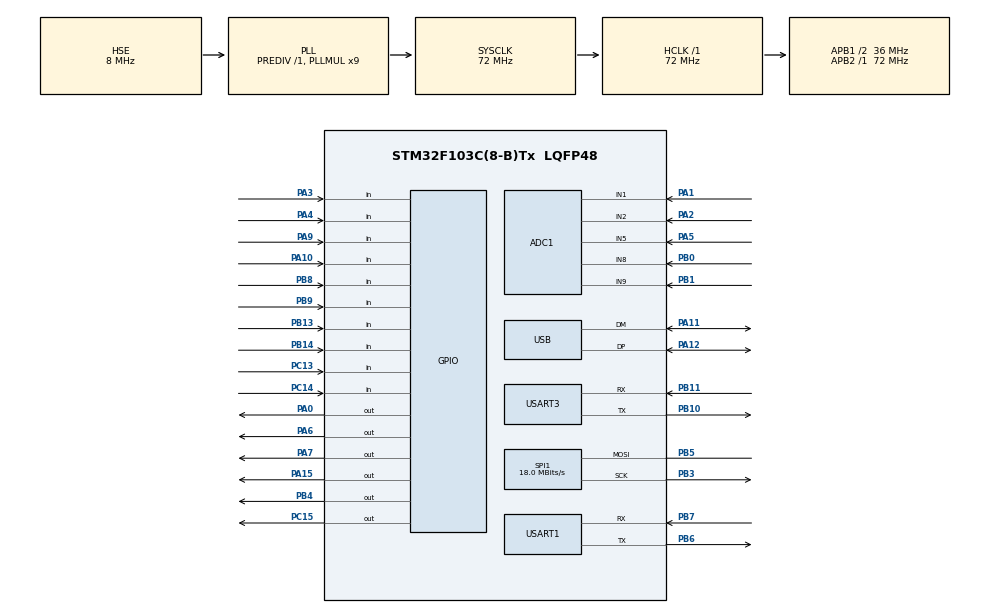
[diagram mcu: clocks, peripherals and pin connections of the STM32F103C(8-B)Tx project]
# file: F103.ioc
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ADC1.Channel-0\#ChannelRegularConversion=ADC_CHANNEL_9
ADC1.Channel-5\#ChannelRegularConversion=ADC_CHANNEL_8
ADC1.Channel-6\#ChannelRegularConversion=ADC_CHANNEL_1
ADC1.Channel-7\#ChannelRegularConversion=ADC_CHANNEL_2
ADC1.Channel-8\#ChannelRegularConversion=ADC_CHANNEL_5
ADC1.ContinuousConvMode=ENABLE
ADC1.NbrOfConversion=5
ADC1.NbrOfConversionFlag=1
ADC1.Rank-0\#ChannelRegularConversion=1
ADC1.Rank-5\#ChannelRegularConversion=2
ADC1.Rank-6\#ChannelRegularConversion=3
ADC1.Rank-7\#ChannelRegularConversion=4
ADC1.Rank-8\#ChannelRegularConversion=5
ADC1.SamplingTime-0\#ChannelRegularConversion=ADC_SAMPLETIME_239CYCLES_5
ADC1.SamplingTime-5\#ChannelRegularConversion=ADC_SAMPLETIME_239CYCLES_5
ADC1.SamplingTime-6\#ChannelRegularConversion=ADC_SAMPLETIME_239CYCLES_5
ADC1.SamplingTime-7\#ChannelRegularConversion=ADC_SAMPLETIME_239CYCLES_5
ADC1.SamplingTime-8\#ChannelRegularConversion=ADC_SAMPLETIME_239CYCLES_5
ADC1.master=1
Dma.ADC1.0.Direction=DMA_PERIPH_TO_MEMORY
Dma.ADC1.0.Instance=DMA1_Channel1
Dma.ADC1.0.MemDataAlignment=DMA_MDATAALIGN_HALFWORD
Dma.ADC1.0.MemInc=DMA_MINC_ENABLE
Dma.ADC1.0.Mode=DMA_CIRCULAR
Dma.ADC1.0.PeriphDataAlignment=DMA_PDATAALIGN_HALFWORD
Dma.ADC1.0.PeriphInc=DMA_PINC_DISABLE
Dma.ADC1.0.Priority=DMA_PRIORITY_LOW
Dma.Request0=ADC1
Dma.Request1=SPI1_TX
Dma.Request2=USART1_RX
Dma.Request3=USART1_TX
Dma.SPI1_TX.1.Direction=DMA_MEMORY_TO_PERIPH
Dma.SPI1_TX.1.Instance=DMA1_Channel3
Dma.SPI1_TX.1.MemDataAlignment=DMA_MDATAALIGN_BYTE
Dma.SPI1_TX.1.MemInc=DMA_MINC_ENABLE
Dma.SPI1_TX.1.Mode=DMA_NORMAL
Dma.SPI1_TX.1.PeriphDataAlignment=DMA_PDATAALIGN_BYTE
Dma.SPI1_TX.1.PeriphInc=DMA_PINC_DISABLE
Dma.SPI1_TX.1.Priority=DMA_PRIORITY_LOW
Dma.USART1_RX.2.Direction=DMA_PERIPH_TO_MEMORY
Dma.USART1_RX.2.Instance=DMA1_Channel5
Dma.USART1_RX.2.MemDataAlignment=DMA_MDATAALIGN_BYTE
Dma.USART1_RX.2.MemInc=DMA_MINC_ENABLE
Dma.USART1_RX.2.Mode=DMA_NORMAL
Dma.USART1_RX.2.PeriphDataAlignment=DMA_PDATAALIGN_BYTE
Dma.USART1_RX.2.PeriphInc=DMA_PINC_DISABLE
Dma.USART1_RX.2.Priority=DMA_PRIORITY_LOW
Dma.USART1_TX.3.Direction=DMA_MEMORY_TO_PERIPH
Dma.USART1_TX.3.Instance=DMA1_Channel4
Dma.USART1_TX.3.MemDataAlignment=DMA_MDATAALIGN_BYTE
Dma.USART1_TX.3.MemInc=DMA_MINC_ENABLE
Dma.USART1_TX.3.Mode=DMA_NORMAL
Dma.USART1_TX.3.PeriphDataAlignment=DMA_PDATAALIGN_BYTE
Dma.USART1_TX.3.PeriphInc=DMA_PINC_DISABLE
Dma.USART1_TX.3.Priority=DMA_PRIORITY_LOW
FREERTOS.Tasks01=DisplayTask,8,2048,StartDisplayTask,Default,NULL,Dynamic,NULL,NULL;InputTask,24,128,StartInputTask,Default,NULL,Dynamic,NULL,NULL;UartTxTask,40,128,StartUartTxTask,Default,NULL,Dynamic,NULL,NULL
FREERTOS.configTOTAL_HEAP_SIZE=10240
FREERTOS.configUSE_IDLE_HOOK=1
FREERTOS.configUSE_TICK_HOOK=1
Mcu.Family=STM32F1
Mcu.Name=STM32F103C(8-B)Tx
Mcu.Package=LQFP48
NVIC.DMA1_Channel1_IRQn=true\:5\:0\:false\:false\:true\:true\:false\:true\:true
NVIC.DMA1_Channel3_IRQn=true\:5\:0\:false\:false\:true\:true\:false\:true\:true
NVIC.DMA1_Channel4_IRQn=true\:5\:0\:false\:false\:true\:true\:false\:true\:true
NVIC.DMA1_Channel5_IRQn=true\:5\:0\:false\:false\:true\:true\:false\:true\:true
NVIC.PriorityGroup=NVIC_PRIORITYGROUP_4
NVIC.TIM4_IRQn=true\:15\:0\:false\:false\:true\:false\:false\:true\:true
NVIC.TimeBase=TIM4_IRQn
NVIC.TimeBaseIP=TIM4
NVIC.USART1_IRQn=true\:5\:0\:false\:false\:true\:true\:true\:true\:true
PA0-WKUP.Signal=GPIO_Output
PA1.Signal=ADCx_IN1
PA10.Signal=GPIO_Input
PA11.Mode=Device
PA11.Signal=USB_DM
PA12.Mode=Device
PA12.Signal=USB_DP
PA13.Mode=Serial_Wire
PA13.Signal=SYS_JTMS-SWDIO
PA14.Mode=Serial_Wire
PA14.Signal=SYS_JTCK-SWCLK
PA15.Signal=GPIO_Output
PA2.Signal=ADCx_IN2
PA3.Signal=GPIO_Input
PA4.Signal=GPIO_Input
PA5.Signal=ADCx_IN5
PA6.PinState=GPIO_PIN_SET
PA6.Signal=GPIO_Output
PA7.PinState=GPIO_PIN_SET
PA7.Signal=GPIO_Output
PA9.Signal=GPIO_Input
PB0.Signal=ADCx_IN8
PB1.Signal=ADCx_IN9
PB10.Mode=Asynchronous
PB10.Signal=USART3_TX
PB11.Mode=Asynchronous
PB11.Signal=USART3_RX
PB13.Signal=GPIO_Input
PB14.Signal=GPIO_Input
PB3.Mode=Simplex_Bidirectional_Master
PB3.Signal=SPI1_SCK
PB4.Signal=GPIO_Output
PB5.Mode=Simplex_Bidirectional_Master
PB5.Signal=SPI1_MOSI
PB6.Mode=Asynchronous
PB6.Signal=USART1_TX
PB7.Mode=Asynchronous
PB7.Signal=USART1_RX
PB8.Signal=GPIO_Input
PB9.Signal=GPIO_Input
PC13-TAMPER-RTC.Signal=GPIO_Input
PC14-OSC32_IN.Signal=GPIO_Input
PC15-OSC32_OUT.PinState=GPIO_PIN_SET
PC15-OSC32_OUT.Signal=GPIO_Output
PD0-OSC_IN.Mode=HSE-External-Oscillator
PD0-OSC_IN.Signal=RCC_OSC_IN
PD1-OSC_OUT.Mode=HSE-External-Oscillator
PD1-OSC_OUT.Signal=RCC_OSC_OUT
ProjectManager.HeapSize=0x200
ProjectManager.StackSize=0x400
ProjectManager.TargetToolchain=MDK-ARM V5.32
RCC.ADCPresc=RCC_ADCPCLK2_DIV6
RCC.AHBFreq_Value=72000000
RCC.APB1CLKDivider=RCC_HCLK_DIV2
RCC.APB1Freq_Value=36000000
RCC.APB1TimFreq_Value=72000000
RCC.APB2Freq_Value=72000000
RCC.APB2TimFreq_Value=72000000
RCC.HCLKFreq_Value=72000000
RCC.PLLMUL=RCC_PLL_MUL9
RCC.PLLSourceVirtual=RCC_PLLSOURCE_HSE
RCC.SYSCLKFreq_VALUE=72000000
RCC.SYSCLKSource=RCC_SYSCLKSOURCE_PLLCLK
RCC.USBFreq_Value=48000000
RCC.USBPrescaler=RCC_USBCLKSOURCE_PLL_DIV1_5
SH.ADCx_IN1.0=ADC1_IN1,IN1
SH.ADCx_IN2.0=ADC1_IN2,IN2
SH.ADCx_IN2.1=ADC2_IN2
SH.ADCx_IN5.0=ADC1_IN5,IN5
SH.ADCx_IN8.0=ADC1_IN8,IN8
SH.ADCx_IN9.0=ADC1_IN9,IN9
SPI1.BaudRatePrescaler=SPI_BAUDRATEPRESCALER_4
SPI1.CalculateBaudRate=18.0 MBits/s
SPI1.Direction=SPI_DIRECTION_1LINE
SPI1.Mode=SPI_MODE_MASTER
SPI1.VirtualType=VM_MASTER
USART1.VirtualMode=VM_ASYNC
USART3.VirtualMode=VM_ASYNC
VP_FREERTOS_VS_CMSIS_V2.Mode=CMSIS_V2
VP_SYS_VS_tim4.Mode=TIM4
board=custom

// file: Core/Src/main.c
/* USER CODE BEGIN Header */
/**
  ******************************************************************************
  * @file           : main.c
  * @brief          : Main program body
  ******************************************************************************
  * @attention
  *
  * Copyright (c) 2026 STMicroelectronics.
  * All rights reserved.
  *
  * This software is licensed under terms that can be found in the LICENSE file
  * in the root directory of this software component.
  * If no LICENSE file comes with this software, it is provided AS-IS.
  *
  ******************************************************************************
  */
/* USER CODE END Header */
#include "main.h"
#include "cmsis_os.h"
#include "adc.h"
#include "dma.h"
#include "spi.h"
#include "usart.h"
#include "usb.h"
#include "gpio.h"

/* USER CODE BEGIN Includes */
#include "oled.h"
/* USER CODE END Includes */

/* USER CODE BEGIN PV */

uint8_t rece_buf[100];
/* USER CODE END PV */

void SystemClock_Config(void);
void MX_FREERTOS_Init(void);

int main(void)
{

  /* MCU Configuration--------------------------------------------------------*/

  /* Reset of all peripherals, Initializes the Flash interface and the Systick. */
  HAL_Init();

  /* Configure the system clock */
  SystemClock_Config();

  /* Initialize all configured peripherals */
  MX_GPIO_Init();

  MX_DMA_Init();
  MX_ADC1_Init();
  MX_SPI1_Init();
  MX_USART1_UART_Init();
  MX_USART3_UART_Init();
  MX_USB_PCD_Init();

  /* Init scheduler */
  osKernelInitialize();  /* Call init function for freertos objects (in cmsis_os2.c) */
  MX_FREERTOS_Init();

  /* Start scheduler */
  osKernelStart();

  /* We should never get here as control is now taken by the scheduler */

  /* Infinite loop */
  while (1)
  {

  }
}

void SystemClock_Config(void)
{
  RCC_OscInitTypeDef RCC_OscInitStruct = {0};
  RCC_ClkInitTypeDef RCC_ClkInitStruct = {0};
  RCC_PeriphCLKInitTypeDef PeriphClkInit = {0};

  /** Initializes the RCC Oscillators according to the specified parameters
  * in the RCC_OscInitTypeDef structure.
  */
  RCC_OscInitStruct.OscillatorType = RCC_OSCILLATORTYPE_HSE;
  RCC_OscInitStruct.HSEState = RCC_HSE_ON;
  RCC_OscInitStruct.HSEPredivValue = RCC_HSE_PREDIV_DIV1;
  RCC_OscInitStruct.HSIState = RCC_HSI_ON;
  RCC_OscInitStruct.PLL.PLLState = RCC_PLL_ON;
  RCC_OscInitStruct.PLL.PLLSource = RCC_PLLSOURCE_HSE;
  RCC_OscInitStruct.PLL.PLLMUL = RCC_PLL_MUL9;
  if (HAL_RCC_OscConfig(&RCC_OscInitStruct) != HAL_OK)
  {
    Error_Handler();
  }

  /** Initializes the CPU, AHB and APB buses clocks
  */
  RCC_ClkInitStruct.ClockType = RCC_CLOCKTYPE_HCLK|RCC_CLOCKTYPE_SYSCLK
                              |RCC_CLOCKTYPE_PCLK1|RCC_CLOCKTYPE_PCLK2;
  RCC_ClkInitStruct.SYSCLKSource = RCC_SYSCLKSOURCE_PLLCLK;
  RCC_ClkInitStruct.AHBCLKDivider = RCC_SYSCLK_DIV1;
  RCC_ClkInitStruct.APB1CLKDivider = RCC_HCLK_DIV2;
  RCC_ClkInitStruct.APB2CLKDivider = RCC_HCLK_DIV1;

  if (HAL_RCC_ClockConfig(&RCC_ClkInitStruct, FLASH_LATENCY_2) != HAL_OK)
  {
    Error_Handler();
  }
  PeriphClkInit.PeriphClockSelection = RCC_PERIPHCLK_ADC|RCC_PERIPHCLK_USB;
  PeriphClkInit.AdcClockSelection = RCC_ADCPCLK2_DIV6;
  PeriphClkInit.UsbClockSelection = RCC_USBCLKSOURCE_PLL_DIV1_5;
  if (HAL_RCCEx_PeriphCLKConfig(&PeriphClkInit) != HAL_OK)
  {
    Error_Handler();
  }
}

void HAL_TIM_PeriodElapsedCallback(TIM_HandleTypeDef *htim)
{
  if (htim->Instance == TIM4)
  {
    HAL_IncTick();
  }
}

void Error_Handler(void)
{
  __disable_irq();
  while (1)
  {
  }
}

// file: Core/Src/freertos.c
/* USER CODE BEGIN Header */
/**
  ******************************************************************************
  * File Name          : freertos.c
  * Description        : Code for freertos applications
  ******************************************************************************
  * @attention
  *
  * Copyright (c) 2026 STMicroelectronics.
  * All rights reserved.
  *
  * This software is licensed under terms that can be found in the LICENSE file
  * in the root directory of this software component.
  * If no LICENSE file comes with this software, it is provided AS-IS.
  *
  ******************************************************************************
  */
/* USER CODE END Header */

#include "FreeRTOS.h"
#include "task.h"
#include "main.h"
#include "cmsis_os.h"

/* USER CODE BEGIN Includes */
#include "gpio.h"
#include "usart.h"
#include "adc.h"
#include "oled.h"
#include "ui_core.h"
#include "menu.h"
#include "protocol.h"
#include "key.h"
#include "stm32f1xx_it.h"
#include <string.h>
#include <stdlib.h>
/* USER CODE END Includes */

/* USER CODE BEGIN PD */
#define BATTERY_MIN_VOLTAGE	3300.0f		//3.7V
#define BATTERY_MAX_VOLTAGE	3752.0f		//4.2V
#define SCALING_FACTOR		4.52f		//(BATTERY_MAX_VOLTAGE-BATTERY_MIN_VOLTAGE)/100

/*
 * 摇杆 ADC 标定：中点 + 两端各自独立映射。
 *
 * 旧写法：
 *     out = 1500 + (adc - CENTER) / (ADC_MAX / 1000)
 * 分母用的是"满量程"，但偏移是从中点算的。中点是 1986、满量程 4025，
 * 两者不是对半关系（一半应该是 2012.5），所以低半边增益大、高半边增益小，
 * 实测低端 1006、高端 2006 —— 正好对上。
 *
 * 现在左右两侧各自标定：中点 -> 1500、低端 -> 1000、高端 -> 2000，三点都精确命中。
 */
#define ROLL_ADC_CENTER		1986		/* 摇杆回中时的 ADC 读数 */
#define ROLL_ADC_MIN		0			/* 摇杆推到下极限时的 ADC 读数 */
#define ROLL_ADC_MAX		4025		/* 摇杆推到上极限时的 ADC 读数 */

#define PITCH_ADC_CENTER	1993
#define PITCH_ADC_MIN		0
#define PITCH_ADC_MAX		4025

#define THROTTLE_ADC_MIN	0			/* 油门是单向的，只有两端 */
#define THROTTLE_ADC_MAX	4022

/* 所有发给飞控的 PWM/通道值都必须落在这个范围内 */
#define SERVO_MIN			1000
#define SERVO_MAX			2000
#define SERVO_CENTER		1500
#define YAW_TRIM_STEP		2

/*
 * 解锁联锁：油门必须"归零"才允许 arm 从 1000/1500 切到 2000。
 * 注意通道值是 1000..2000，没有真正的 0，所以"归零"= 油门在最低位。
 * 阈值给 10 个单位的余量，防止 ADC 噪声刚好卡在边界上。
 */
#define ARM_THROTTLE_MAX	(SERVO_MIN + 10)

/* 超过这个时间没收到任何遥测帧，就重启一次接收通道 */
#define RX_TIMEOUT_MS		1000

/* 飞控回传电量低于这个百分比（0~100）时，绿灯常亮 */
#define TELEM_BAT_LOW		10

/* UI 帧周期：静态画面 50 fps，过渡/选择条动画期间提到 62 fps */
#define DISPLAY_FRAME_MS	20
#define ANIM_FRAME_MS		14
/* USER CODE END PD */

/* USER CODE BEGIN Variables */
static osMessageQueueId_t TxFrameQueue;
/* USER CODE END Variables */
/* Definitions for DisplayTask */
/* 栈深 1024 字节：链接器静态调用图给出的最大栈深仅 256 字节，
   sprintf 浮点格式化链路约 300 字节，留 2 倍以上余量即可。
   原来 8KB 白占了 20KB RAM 的 40%。 */
osThreadId_t DisplayTaskHandle;
const osThreadAttr_t DisplayTask_attributes = {
  .name = "DisplayTask",
  .stack_size = 256 * 4,
  .priority = (osPriority_t) osPriorityLow,
};
/* Definitions for InputTask */
osThreadId_t InputTaskHandle;
const osThreadAttr_t InputTask_attributes = {
  .name = "InputTask",
  .stack_size = 128 * 4,
  .priority = (osPriority_t) osPriorityNormal,
};
/* Definitions for UartTxTask */
osThreadId_t UartTxTaskHandle;
const osThreadAttr_t UartTxTask_attributes = {
  .name = "UartTxTask",
  .stack_size = 128 * 4,
  .priority = (osPriority_t) osPriorityHigh,
};

void StartDisplayTask(void *argument);
void StartInputTask(void *argument);
void StartUartTxTask(void *argument);

void MX_FREERTOS_Init(void); /* (MISRA C 2004 rule 8.1) */

/* Hook prototypes */
void vApplicationIdleHook(void);
void vApplicationTickHook(void);
void vApplicationMallocFailedHook(void);
void vApplicationStackOverflowHook(TaskHandle_t xTask, char *pcTaskName);

/* USER CODE BEGIN 2 */

/* 致命错误：亮红灯并停机。
   堆/栈耗尽属于程序错误，继续跑只会在别的地方随机失效，停机比乱跑安全。 */
static void App_Fatal(void)
{
	RED_LIGHT_ON;
	__disable_irq();
	for (;;)
	{
	}
}

/* 把值限制在 [min, max] 内 */
static uint16_t Clamp_u16(int32_t value, int32_t min, int32_t max)
{
	if (value < min) return (uint16_t)min;
	if (value > max) return (uint16_t)max;
	return (uint16_t)value;
}

/*
 * 摇杆映射：中点两侧各用一条直线。
 *   中点        -> 1500
 *   adc_max     -> 2000
 *   adc_min     -> 1000
 * 两侧斜率不同也没关系，因为中点、两端都是按实测值标定的。
 *
 * 两端各有 AXIS_EDGE_SNAP 个 ADC 计数的"吸附区"：
 * 摇杆压到机械极限时 ADC 会在 ±2~3 个计数上抖，不吸附的话输出会在
 * 1999/2000 之间来回跳。吸附区约 1.5 个输出单位，肉眼看不出。
 */
#define AXIS_EDGE_SNAP		6

/* 四舍五入的整数除法（分子分母均非负） */
static int32_t Div_Round(int32_t num, int32_t den)
{
	return (num + den / 2) / den;
}

static uint16_t Axis_Map(uint16_t adc, uint16_t center, uint16_t adc_min, uint16_t adc_max)
{
	int32_t out;

	/* 端点吸附：先判饱和，避免端点抖动 */
	if ((adc_max > center) && ((int32_t)adc >= ((int32_t)adc_max - AXIS_EDGE_SNAP)))
	{
		return SERVO_MAX;
	}
	if ((center > adc_min) && ((int32_t)adc <= ((int32_t)adc_min + AXIS_EDGE_SNAP)))
	{
		return SERVO_MIN;
	}

	if (adc >= center)
	{
		if (adc_max <= center)
		{
			return SERVO_CENTER;
		}
		out = SERVO_CENTER + Div_Round((int32_t)(adc - center) * (SERVO_MAX - SERVO_CENTER),
		                               (int32_t)(adc_max - center));
	}
	else
	{
		if (center <= adc_min)
		{
			return SERVO_CENTER;
		}
		out = SERVO_CENTER - Div_Round((int32_t)(center - adc) * (SERVO_CENTER - SERVO_MIN),
		                               (int32_t)(center - adc_min));
	}

	return Clamp_u16(out, SERVO_MIN, SERVO_MAX);
}

/* 油门单向：adc_min -> 1000，adc_max -> 2000，两端同样带吸附区 */
static uint16_t Throttle_Map(uint16_t adc)
{
	int32_t out;

	if (THROTTLE_ADC_MAX <= THROTTLE_ADC_MIN)
	{
		return SERVO_MIN;
	}

	/* 怠速端和满油端吸附，避免油门显示/输出在端点抖 */
	if ((int32_t)adc <= ((int32_t)THROTTLE_ADC_MIN + AXIS_EDGE_SNAP))
	{
		return SERVO_MIN;
	}
	if ((int32_t)adc >= ((int32_t)THROTTLE_ADC_MAX - AXIS_EDGE_SNAP))
	{
		return SERVO_MAX;
	}

	out = SERVO_MIN + Div_Round((int32_t)(adc - THROTTLE_ADC_MIN) * (SERVO_MAX - SERVO_MIN),
	                            (int32_t)(THROTTLE_ADC_MAX - THROTTLE_ADC_MIN));

	return Clamp_u16(out, SERVO_MIN, SERVO_MAX);
}

/* FreeRTOS：动态内存分配失败（configUSE_MALLOC_FAILED_HOOK = 1） */
void vApplicationMallocFailedHook(void)
{
	App_Fatal();
}

/* FreeRTOS：任务栈溢出（configCHECK_FOR_STACK_OVERFLOW = 2） */
void vApplicationStackOverflowHook(TaskHandle_t xTask, char *pcTaskName)
{
	(void)xTask;
	(void)pcTaskName;
	App_Fatal();
}

void vApplicationIdleHook( void )
{
   /* vApplicationIdleHook() will only be called if configUSE_IDLE_HOOK is set
   to 1 in FreeRTOSConfig.h. It will be called on each iteration of the idle
   task. It is essential that code added to this hook function never attempts
   to block in any way (for example, call xQueueReceive() with a block time
   specified, or call vTaskDelay()). If the application makes use of the
   vTaskDelete() API function (as this demo application does) then it is also
   important that vApplicationIdleHook() is permitted to return to its calling
   function, because it is the responsibility of the idle task to clean up
   memory allocated by the kernel to any task that has since been deleted. */
}
/* USER CODE END 2 */

/* USER CODE BEGIN 3 */
void vApplicationTickHook( void )
{
   /* This function will be called by each tick interrupt if
   configUSE_TICK_HOOK is set to 1 in FreeRTOSConfig.h. User code can be
   added here, but the tick hook is called from an interrupt context, so
   code must not attempt to block, and only the interrupt safe FreeRTOS API
   functions can be used (those that end in FromISR()). */
}
/* USER CODE END 3 */

void MX_FREERTOS_Init(void) {

  /* USER CODE BEGIN RTOS_MUTEX */
  /* add mutexes, ... */
  settings_mutex = osMutexNew(NULL);
  if (settings_mutex == NULL) App_Fatal();
  frame_mutex = osMutexNew(NULL);		/* 保护"最新一帧"快照 */
  if (frame_mutex == NULL) App_Fatal();
  /* USER CODE END RTOS_MUTEX */

  /* USER CODE BEGIN RTOS_QUEUES */
  /* add queues, ... */
  TxFrameQueue = osMessageQueueNew(3, sizeof(Tx_Frame_t), NULL);
  /* RX 队列深度给到 4：UartTxTask 每 16ms 取一次，深度 4 足够吸收突发帧 */
  RxFrameQueue = osMessageQueueNew(4, sizeof(Rx_Frame_t), NULL);
  KeyEventQueue = osMessageQueueNew(8, sizeof(uint8_t), NULL);
  if ((TxFrameQueue == NULL) || (RxFrameQueue == NULL) || (KeyEventQueue == NULL))
  {
    App_Fatal();
  }
  /* USER CODE END RTOS_QUEUES */

  /* Create the thread(s) */
  /* creation of DisplayTask */
  DisplayTaskHandle = osThreadNew(StartDisplayTask, NULL, &DisplayTask_attributes);

  /* creation of InputTask */
  InputTaskHandle = osThreadNew(StartInputTask, NULL, &InputTask_attributes);

  /* creation of UartTxTask */
  UartTxTaskHandle = osThreadNew(StartUartTxTask, NULL, &UartTxTask_attributes);

  /* USER CODE BEGIN RTOS_THREADS */
  /* add threads, ... */
  if ((DisplayTaskHandle == NULL) || (InputTaskHandle == NULL) || (UartTxTaskHandle == NULL))
  {
    App_Fatal();
  }
  /* USER CODE END RTOS_THREADS */

}

void StartDisplayTask(void *argument)
{
  /* USER CODE BEGIN StartDisplayTask */
	TickType_t last_tick;

	OLED_Init();
	ui_begin();			/* 帧缓冲清零，保证第一帧渲染前是黑的 */
	Menu_Init();

	last_tick = xTaskGetTickCount();

  /* Infinite loop */
  for(;;)
  {
		Menu_Task_Handler();
		vTaskDelayUntil(&last_tick,
			pdMS_TO_TICKS(Menu_Is_Animating() ? ANIM_FRAME_MS : DISPLAY_FRAME_MS));
  }
  /* USER CODE END StartDisplayTask */
}

void StartInputTask(void *argument)
{
  /* USER CODE BEGIN StartInputTask */
	/* ADC 由 DMA 直接写入，必须是 volatile（否则提高优化等级后读到缓存值）。
	   放成 static 也顺带省下 10 字节任务栈。 */
	static volatile uint16_t adc_buf[5];
	TickType_t last_tick;
	static Tx_Frame_t tx_frame = {0};
	MenuSettings_t settings;
	static uint8_t arm_pos_prev;		/* 解锁开关上一次是否在"解锁"位（边沿检测） */

	tx_frame.head = PROTOCOL_FRAME_HEAD;
	for(int i=1;i<15;i++)
	{
		*(((uint16_t*)&tx_frame)+i) = 1500;
	}
	tx_frame.throttle = 1000;
	HAL_ADC_Start_DMA(&hadc1,(uint32_t*)adc_buf,5);
	osDelay(1);

	last_tick = xTaskGetTickCount();	/* 只在循环外取一次，vTaskDelayUntil 会自己更新它 */

	/* Infinite loop */
	for(;;)
	{
		//Correct joystick ADC values (中点/两端分别标定，保证 1000 / 1500 / 2000 精确)
		tx_frame.roll 		= Axis_Map(adc_buf[0], ROLL_ADC_CENTER,  ROLL_ADC_MIN,  ROLL_ADC_MAX);
		tx_frame.pitch 		= Axis_Map(adc_buf[1], PITCH_ADC_CENTER, PITCH_ADC_MIN, PITCH_ADC_MAX);
		tx_frame.throttle 	= Throttle_Map(adc_buf[2]);

		/* 中点附近 2 个单位的死区：ADC 噪声不会让静止值来回跳（也避免飞控把它当动作） */
		if (abs((int)tx_frame.roll - SERVO_CENTER) < 2)  tx_frame.roll  = SERVO_CENTER;
		if (abs((int)tx_frame.pitch - SERVO_CENTER) < 2) tx_frame.pitch = SERVO_CENTER;

		Remote_Bat 			= (adc_buf[4]-BATTERY_MIN_VOLTAGE)/SCALING_FACTOR;
		if(Remote_Bat >= 100)Remote_Bat = 100;
		if(Remote_Bat <= 0){ Remote_Bat = 0;RED_LIGHT_ON;}else {RED_LIGHT_OFF;}

		//Yaw, control with buttons (persisted via static tx_frame), clamped to SERVO_MIN..SERVO_MAX
		if((HAL_GPIO_ReadPin(GPIOB,GPIO_PIN_13)==RESET) && (HAL_GPIO_ReadPin(GPIOB,GPIO_PIN_14)==RESET))
		{
			tx_frame.yaw = 1500;		//两个键同时按：回中
		}
		else if((HAL_GPIO_ReadPin(GPIOB,GPIO_PIN_13)==RESET))
		{
			tx_frame.yaw = Clamp_u16((int32_t)tx_frame.yaw - YAW_TRIM_STEP, SERVO_MIN, SERVO_MAX);
		}
		else if((HAL_GPIO_ReadPin(GPIOB,GPIO_PIN_14)==RESET))
		{
			tx_frame.yaw = Clamp_u16((int32_t)tx_frame.yaw + YAW_TRIM_STEP, SERVO_MIN, SERVO_MAX);
		}

		//ARM：解锁（切到 2000）前必须油门归零，否则保持原状态并在屏幕上提示
		{
			uint8_t pa3_set  = (HAL_GPIO_ReadPin(GPIOA, GPIO_PIN_3) == SET) ? 1u : 0u;
			uint8_t pa4_set  = (HAL_GPIO_ReadPin(GPIOA, GPIO_PIN_4) == SET) ? 1u : 0u;
			uint8_t arm_pos  = (uint8_t)(pa3_set && !pa4_set);   /* 开关拨在"解锁"位 */

			if(!pa3_set && pa4_set)
			{
				tx_frame.arm=1000;
			}
			else if(pa3_set && pa4_set)
			{
				tx_frame.arm=1500;
			}
			else if(arm_pos)
			{
				if(tx_frame.throttle <= ARM_THROTTLE_MAX)
				{
					tx_frame.arm=2000;
				}
				else if(!arm_pos_prev)
				{
					/* 刚拨到解锁位、但油门没收到底：拒绝解锁（arm 保持原值），
					   只在"拨动那一下"弹提示，避免飞行中每帧都糊一个提示框 */
					Menu_Notify_ArmDenied();
				}
			}

			arm_pos_prev = arm_pos;
		}

		//MODE
		if((HAL_GPIO_ReadPin(GPIOC,GPIO_PIN_13)==RESET)&&(HAL_GPIO_ReadPin(GPIOC,GPIO_PIN_14)==SET))
		{
			tx_frame.mode=1000;
		}
		else if((HAL_GPIO_ReadPin(GPIOC,GPIO_PIN_13)==SET)&&(HAL_GPIO_ReadPin(GPIOC,GPIO_PIN_14)==SET))
		{
			tx_frame.mode=1500;
		}
		else if((HAL_GPIO_ReadPin(GPIOC,GPIO_PIN_13)==SET)&&(HAL_GPIO_ReadPin(GPIOC,GPIO_PIN_14)==RESET))
		{
			tx_frame.mode=2000;
		}

		//Read menu-editable settings (a consistent snapshot, locked inside protocol.c)
		Settings_Snapshot(&settings);
		tx_frame.aux3 = settings.aux3;
		tx_frame.aux4 = settings.aux4;
		tx_frame.aux5 = settings.aux5;
		tx_frame.aux6 = settings.aux6;
		tx_frame.aux7 = settings.aux7;
		tx_frame.aux8 = settings.aux8;
		tx_frame.roll_offset = settings.roll_offset;
		tx_frame.pitch_offset = settings.pitch_offset;

		tx_frame.checksum = Calculate_Checksum((uint8_t*)&tx_frame,30);

		//Send complete frame to UartTxTask via queue
		osMessageQueuePut(TxFrameQueue, &tx_frame, 0, 0);

		//Scan keys and send events to DisplayTask
		uint8_t key = KEY_Scan();
		if(key != KEY_NONE)
		{
			osMessageQueuePut(KeyEventQueue, &key, 0, 0);
		}

		vTaskDelayUntil(&last_tick, pdMS_TO_TICKS(16));
	}
  /* USER CODE END StartInputTask */
}

void StartUartTxTask(void *argument)
{
  /* USER CODE BEGIN StartUartTxTask */
	/* 乒乓缓冲：DMA 发送期间源地址必须一直有效，不能再用循环里的栈变量 */
	static Tx_Frame_t tx_buf[2];
	uint8_t  tx_idx = 0;
	uint32_t last_rx_tick;

	/* 启动 USART1 的 DMA + IDLE 接收（协议层负责校验、入队和重新挂载） */
	Protocol_Start_Receive();
	last_rx_tick = HAL_GetTick();

	/* Infinite loop */
	for(;;)
	{
		Tx_Frame_t *tx_to_send = &tx_buf[tx_idx];

		tx_idx ^= 1;

		//Wait for new TX frame from InputTask (blocks here)
		osMessageQueueGet(TxFrameQueue, tx_to_send, 0, osWaitForever);

		//Save snapshot for DisplayTask
		TxFrame_Latest_Set(tx_to_send);

		//Send via DMA
		if(HAL_UART_Transmit_DMA(&huart1, (uint8_t*)tx_to_send, sizeof(Tx_Frame_t)) != HAL_OK)
		{
			/* 上一帧还没发完或 TX 通道卡住：只中止发送通道，再补发一次 */
			(void)HAL_UART_AbortTransmit(&huart1);
			(void)HAL_UART_Transmit_DMA(&huart1, (uint8_t*)tx_to_send, sizeof(Tx_Frame_t));
		}

		//每轮都取一次 RX，只保留最新的（原来每 4 轮取一次 = 64ms，队列里大量帧被丢）
		{
			Rx_Frame_t rx_frame;

			if(osMessageQueueGet(RxFrameQueue, &rx_frame, 0, 0) == osOK)
			{
				//Drain remaining RX frames (keep the latest)
				while(osMessageQueueGet(RxFrameQueue, &rx_frame, 0, 0) == osOK)
				{
				}

				RxFrame_Latest_Set(&rx_frame);
				last_rx_tick = HAL_GetTick();

				/* 链路恢复：强制熄灭蓝灯。
				   BLUE_LIGHT_BLINK 是"翻转"，如果恢复时正好停在下一次翻转前
				   （也就是亮着的那一拍），不显式熄灭就会一直亮着。 */
				BLUE_LIGHT_OFF;

				/* 飞控回传的电量低于 10%：绿灯常亮提醒（高于 10% 就熄灭） */
				if(rx_frame.bat < TELEM_BAT_LOW)
				{
					GREEN_LIGHT_ON;
				}
				else
				{
					GREEN_LIGHT_OFF;
				}
			}
			else if((HAL_GetTick() - last_rx_tick) > RX_TIMEOUT_MS)
			{
				/* 超时没收到任何帧：只重启接收通道（不会碰 TX DMA） */
				Protocol_Restart_Receive();
				last_rx_tick = HAL_GetTick();

				/* 链路断了，电量提示失效，交给蓝灯慢闪表达 */
				GREEN_LIGHT_OFF;
				BLUE_LIGHT_BLINK;
			}
		}
	}
  /* USER CODE END StartUartTxTask */
}
